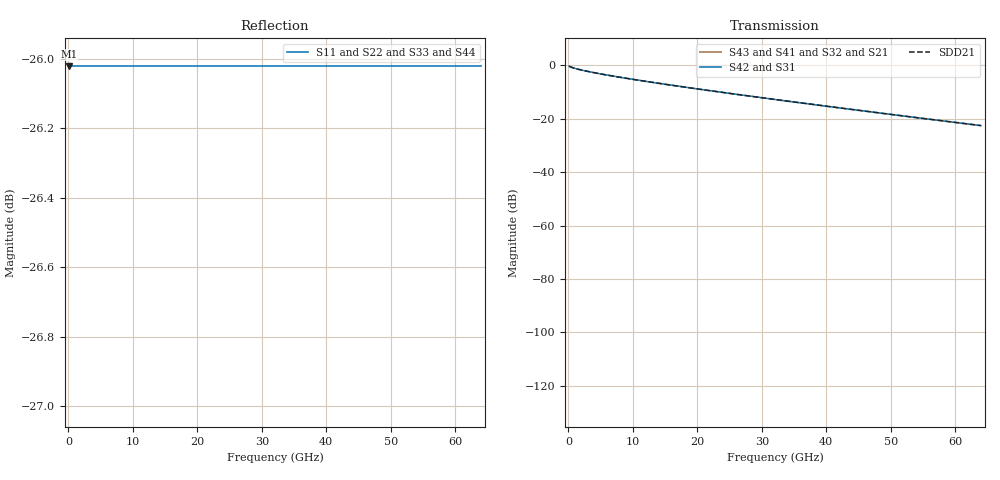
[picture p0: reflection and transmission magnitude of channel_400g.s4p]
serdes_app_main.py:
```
import numpy as np
import sys
import matplotlib.pyplot as plt
import argparse
import yaml

sys.path.insert(0, './')

from src.physics import MultiRatePhysicsEngine
from src.clocking import Behavioral_CDR
from src.ppa import SiliconCostEngine
from src.optimizer import FFE_Optimizer
from src.visualizer import SerDesVisualizer
from src.stats import SerDesMonteCarlo

# --- Main Calculation Function ---

def calculate_final_margins(v_margin_post_dfe, vertical_jitter_tax, total_jitter_ui, ber_sigma):
    """
    Calculates the final vertical and horizontal margins based on post-DFE vertical margin
    and CDR-derived jitter metrics.
    """
    final_h_margin = 0.5 - (ber_sigma * total_jitter_ui)
    final_v_margin = v_margin_post_dfe - vertical_jitter_tax
    
    return final_v_margin, final_h_margin

# --- Analysis Functions ---

def run_baseline_analysis(params, rate_gbps=128, channel_path='data/channel_400g.s4p'):
    print(f"\n{'='*50}")
    print("  SERDES ARCHITECT: BASELINE ANALYSIS (128G)")
    print(f"{ '='*50}\n")
    
    # 1. Initialize Engines
    phy_engine = MultiRatePhysicsEngine(channel_path, tech_file='config/tech_3nm.yaml', params_file='config/parameters.yaml')
    ffe_optimizer = FFE_Optimizer(params_file='config/parameters.yaml')
    cdr = Behavioral_CDR(
        ui_ps=(1000/rate_gbps), 
        latency_cycles=params['cdr']['speculative_latency_cycles'],
        pi_resolution=params['cdr']['pi_resolution'],
        params_file='config/parameters.yaml'
    )
    ppa_engine = SiliconCostEngine(params_file='config/parameters.yaml')
    viz_engine = SerDesVisualizer(ui_ps=(1000/rate_gbps))

    # 2. Get the Multi-Stage Waveforms
    sbr_tx, sbr_channel, sbr_ctle, sbr_dfe, ui_time = phy_engine.get_sbr(rate_gbps)
    
    # 3. Run FFE Optimization
    ffe_results = ffe_optimizer.solve_ffe_taps(sbr_dfe)
    
    # Calculate DFE Power
    dfe_power = ppa_engine.calculate_ppa(rate_gbps, num_taps=4, latency_cycles=params['cdr']['speculative_latency_cycles'])['power_mw'] # Simplified power calc for DFE

    # 3. Calculate Final Margins
    # First, calculate the jitter from the CDR model
    jitter_profile = {'freq_mhz': 100, 'amplitude_ui': 0.05}
    loop_bw_mhz = 20
    total_jitter_ui = cdr.calculate_residual_jitter(jitter_profile, loop_bw_mhz)
    vertical_jitter_tax = cdr.calculate_vertical_jitter_tax(sbr_dfe, total_jitter_ui)
    
    # Then, pass the results to the unified margin calculation
    v_margin_post_dfe = params['ppa_table_data'][-2]['vertical_margin_mv']
    final_v_margin, final_h_margin = calculate_final_margins(v_margin_post_dfe, vertical_jitter_tax, total_jitter_ui, params['cdr']['ber_sigma'])

    # --- PPA Table (Waterfall Format) ---
    print("\n--- PPA & Yield Table (Waterfall) ---")
    print(f"{ 'Architecture Stage':<25} | { 'Vertical Margin (mV)':<20} | { 'Horizontal Margin (UI)':<25} | { 'Power (mW)':<15}")
    print(f"{'-'*25} | {'-'*20} | {'-'*25} | {'-'*15}")
    
    ppa_table_data = params['ppa_table_data']
    total_power = 0

    for row in ppa_table_data[:-1]:
        print(f"{row['stage_name']:<25} | {row['vertical_margin_mv']:<20.2f} | {'N/A':<25} | {row['power_mw']:<15.2f}")
        total_power += row['power_mw']
    
    cdr_power = ppa_engine.calculate_cdr_power(params['cdr']['speculative_latency_cycles'])
    total_power += cdr_power
    print(f"{ ' - Jitter Tax (from CDR)':<25} | {-vertical_jitter_tax:<20.2f} | {'N/A':<25} | {cdr_power:<15.2f} (Unroll Tax)")
    
    print(f"{'-'*25} | {'-'*20} | {'-'*25} | {'-'*15}")
    print(f"{'Final Net Margin':<25} | {final_v_margin:<20.2f} | {final_h_margin:<25.3f} | {total_power:<15.2f}")
    
    print(f"\n--- CDR Report ---")
    print(f"  - CDR Loop Bandwidth:      {loop_bw_mhz} MHz")
    print(f"  - Input Jitter Freq:       {jitter_profile['freq_mhz']} MHz")
    print(f"  - Input Jitter Amplitude:  {jitter_profile['amplitude_ui']:.3f} UI")
    print(f"  - RJ Floor:                {params['cdr']['rj_floor_ui']:.3f} UI")
    print(f"  - Total Residual Jitter:   {total_jitter_ui:.3f} UI")
    print(f"  - Final Horizontal Margin: {final_h_margin:.3f} UI")
    print(f"    (Equation: 0.5 - ({params['cdr']['ber_sigma']} * {total_jitter_ui:.3f}))")
    
    print(f"\nFFE Taps: {ffe_results['taps']}")
    print(f"Total Energy Efficiency: {total_power / rate_gbps:.3f} pJ/bit")

    # 5. Visualize the Signal Flow
    print("\nGenerating 4-Panel Signal Integrity Dashboard...")
    stages_data = [sbr_tx, sbr_channel, sbr_ctle, sbr_dfe]
    viz_engine.plot_multistage_analysis(stages_data)
    
    print(f"\n{'='*50}")


def run_global_sensitivity_sweep(params):
    print(f"\n{'='*50}")
    print("  GLOBAL SENSITIVITY SWEEP (128G)")
    print(f"{ '='*50}\n")
    
    baseline_v_margin = params['global_sweep_parameters']['baseline_v_margin']
    baseline_nyquist_loss = params['global_sweep_parameters']['baseline_nyquist_loss']
    loss_sensitivity_factor = params['global_sweep_parameters']['loss_sensitivity_factor']
    pass_threshold_mv = params['global_sweep_parameters']['pass_threshold_mv']
    
    losses = params['global_sweep_parameters']['losses']
    results = []
    for loss in losses:
        current_v_margin = baseline_v_margin - (loss - baseline_nyquist_loss) * loss_sensitivity_factor
        status = "PASS" if current_v_margin > pass_threshold_mv else "FAIL"
        results.append((loss, current_v_margin, 0, status))
        print(f"Loss: -{loss}dB | Margin: {current_v_margin:.2f}mV | [{status}]")

    if results:
        passing_results = [r for r in results if r[3] == "PASS"]
        if passing_results:
            max_loss_pass = max(passing_results, key=lambda item: item[0])[0]
            summary = f"The link maintains a passing margin up to a channel loss of -{max_loss_pass}dB."
        else:
            summary = "The link fails at all tested channel losses."
        print(f"\nSWEEP SUMMARY: {summary}")

    print(f"\n{'='*50}")


def run_monte_carlo_analysis(params, iterations=500):
    print(f"\n{'='*50}")
    print(f"  SERDES MONTE CARLO YIELD ANALYSIS ({iterations} iterations)")
    print(f"{ '='*50}\n")
    
    # 1. Initialize Engine
    mc_engine = SerDesMonteCarlo(iterations=iterations, params_file='config/parameters.yaml')
    
    # 2. Define Base Parameters for the Monte Carlo Simulation
    base_params = {
        'latency': params['monte_carlo']['base_latency'],
        'bw': params['monte_carlo']['base_bw'],
    }
    
    # 3. Run the Yield Analysis
    # The new run_yield_analysis no longer takes params and calculate_final_margins as arguments.
    margin_results = mc_engine.run_yield_analysis(base_params)
    
    # 4. Calculate Final Statistics
    mean_margin = np.mean(margin_results)
    std_dev = np.std(margin_results)
    
    margin_3_sigma = mean_margin - (3 * std_dev)
    pass_threshold_mv = params['simulation']['pass_threshold_mv']
    yield_percent = (np.sum(margin_results > pass_threshold_mv) / iterations) * 100
    
    print("--- Monte Carlo Yield Report ---")
    print(f"Mean Margin: {mean_margin:.2f} mV")
    print(f"3-Sigma (Worst Case): {margin_3_sigma:.2f} mV")
    print(f"Confidence / Yield: {yield_percent:.2f}%")
    
    if yield_percent > 99.7:
        verdict = f"Silicon Ready! The design is robust against process variations, with a 3-sigma worst-case margin of {margin_3_sigma:.2f} mV and a yield of {yield_percent:.2f}%."
    elif yield_percent > 90:
        verdict = f"High Risk. While the mean margin is good ({mean_margin:.2f} mV), the 3-sigma tail ({margin_3_sigma:.2f} mV) dips below the pass threshold. Yield may be impacted."
    else:
        verdict = f"Guaranteed Fail. The design is not robust, with a 3-sigma margin of {margin_3_sigma:.2f} mV. Significant yield loss is expected. Re-evaluate circuit specs."
    print(f"\nARCHITECT'S VERDICT: {verdict}")
    
    plt.figure(figsize=(10, 6))
    plt.hist(margin_results, bins=50, density=True, alpha=0.7, label='Margin Distribution')
    plt.axvline(mean_margin, color='red', linestyle='--', label=f'Mean: {mean_margin:.2f} mV')
    plt.axvline(margin_3_sigma, color='orange', linestyle='--', label=f'3-Sigma: {margin_3_sigma:.2f} mV')
    plt.axvline(pass_threshold_mv, color='green', linestyle='--', label=f'Pass Threshold: {pass_threshold_mv:.2f} mV')
    plt.title("Monte Carlo Simulation: Vertical Margin Distribution")
    plt.xlabel("Vertical Margin (mV)")
    plt.ylabel("Probability Density")
    plt.legend()
    plt.grid(True, alpha=0.3)
    plt.show(block=True)
    
    print(f"\n{'='*50}")

# --- Main Entry Point ---
def main():
    parser = argparse.ArgumentParser(description="SerDes Architect Suite for 128G PAM4 links.")
    parser.add_argument('--sweep', action='store_true', help="Run global sensitivity sweep.")
    parser.add_argument('--monte-carlo', action='store_true', help="Generate Monte Carlo yield report.")
    parser.add_argument('--baseline', action='store_true', help="Run baseline analysis (Virtual Oscilloscope). (Default if no other argument is given)")
    
    args = parser.parse_args()

    with open('config/parameters.yaml', 'r') as f:
        params = yaml.safe_load(f)

    if args.sweep:
        run_global_sensitivity_sweep(params)
    elif args.monte_carlo:
        run_monte_carlo_analysis(params)
    elif args.baseline:
        run_baseline_analysis(params)
    else:
        print("No specific analysis selected. Running Baseline Analysis by default.")
        run_baseline_analysis(params)

if __name__ == "__main__":
    main()
```
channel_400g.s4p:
# GHz S RI R 50
! True 4-Port Differential Channel: 6 inches
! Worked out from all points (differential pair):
!   500 points, 100 MHz to 64 GHz, reference 50 ohm
!   strongest paths, dB at 100 MHz, 16.11 GHz, 32.11 GHz, 48.12 GHz, 64 GHz:
!     S42: -0.3, -7.5, -12.8, -17.8, -22.6
!     S31: -0.3, -7.5, -12.8, -17.8, -22.6
!     S43: -, -, -, -, -
!     S41: -, -, -, -, -
!     S32: -, -, -, -, -
!     S21: -, -, -, -, -
!   taken as a pair (ports 2,1 in; 4,3 out), SDD21 dB: -0.3, -7.5, -12.8, -17.8, -22.6
!   lowest |S11| = -26.0 dB at 100 MHz (marker M1), VSWR 1.11, Z = 55.3 + j0 ohm
!   |S11| at or under -10 dB: start of sweep to end of sweep
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0.1  0.05 0  0 0  0.7948 -0.5475  0 0
     0 0  0.05 0  0 0  0.7948 -0.5475
     0.7948 -0.5475  0 0  0.05 0  0 0
     0 0  0.7948 -0.5475  0 0  0.05 0
0.7403  0.05 0  0 0  -0.2192 0.869  0 0
        0 0  0.05 0  0 0  -0.2192 0.869
        -0.2192 0.869  0 0  0.05 0  0 0
        0 0  -0.2192 0.869  0 0  0.05 0
64  0.05 0  0 0  -0.0692 -0.0274  0 0
    0 0  0.05 0  0 0  -0.0692 -0.0274
    -0.0692 -0.0274  0 0  0.05 0  0 0
    0 0  -0.0692 -0.0274  0 0  0.05 0
